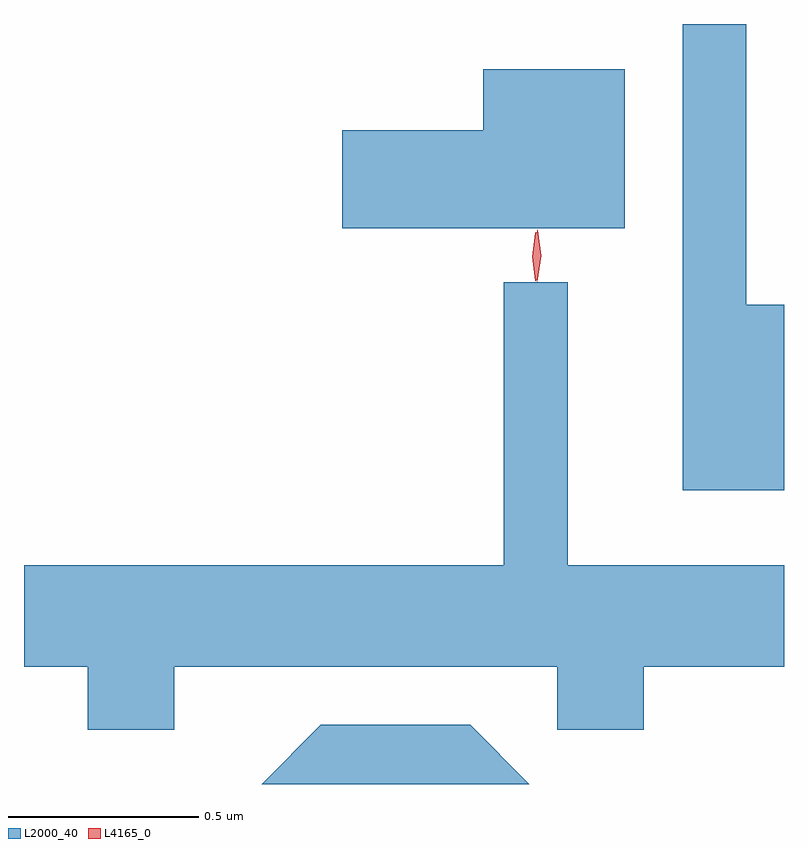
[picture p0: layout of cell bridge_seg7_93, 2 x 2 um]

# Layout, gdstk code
import gdstk
lib = gdstk.Library(unit=1e-6, precision=1e-09)
def P(c, l, *ps):  # polygons
    for p in ps: c.add(gdstk.Polygon(p, *l))
L2000_40 = (2000, 40)
L4165_0 = (4165, 0)

bridge_seg7_93 = lib.new_cell('bridge_seg7_93')
P(bridge_seg7_93, L2000_40, [(1639.478,1755.229),(1639.379,1755.229),(1639.379,1755.968),(1639.211,1755.968),(1639.211,1754.741),(1639.478,1754.741)],
  [(1639.059,1755.849),(1638.686,1755.849),(1638.686,1755.689),(1638.316,1755.689),(1638.316,1755.431),(1639.059,1755.431)],
  [(1637.874,1754.276),(1638.881,1754.276),(1638.881,1754.111),(1639.109,1754.111),(1639.109,1754.276),(1639.478,1754.276),(1639.478,1754.544),(1638.909,1754.544),(1638.909,1755.288),(1638.741,1755.288),(1638.741,1754.544),(1637.478,1754.544),(1637.478,1754.276),(1637.646,1754.276),(1637.646,1754.111),(1637.874,1754.111)],
  [(1638.652,1754.124),(1638.259,1754.124),(1638.103,1753.968),(1638.808,1753.968)])
P(bridge_seg7_93, L4165_0, [(1638.828,1755.29),(1638.828,1755.29),(1638.819,1755.358),(1638.829,1755.425),(1638.83,1755.426),(1638.83,1755.425),(1638.839,1755.358),(1638.829,1755.29)],
  [(1638.824,1755.293),(1638.815,1755.356),(1638.824,1755.419),(1638.825,1755.42),(1638.826,1755.419),(1638.835,1755.356),(1638.826,1755.293),(1638.825,1755.293)])

lib.write_gds('bridge_seg7_93.gds')
